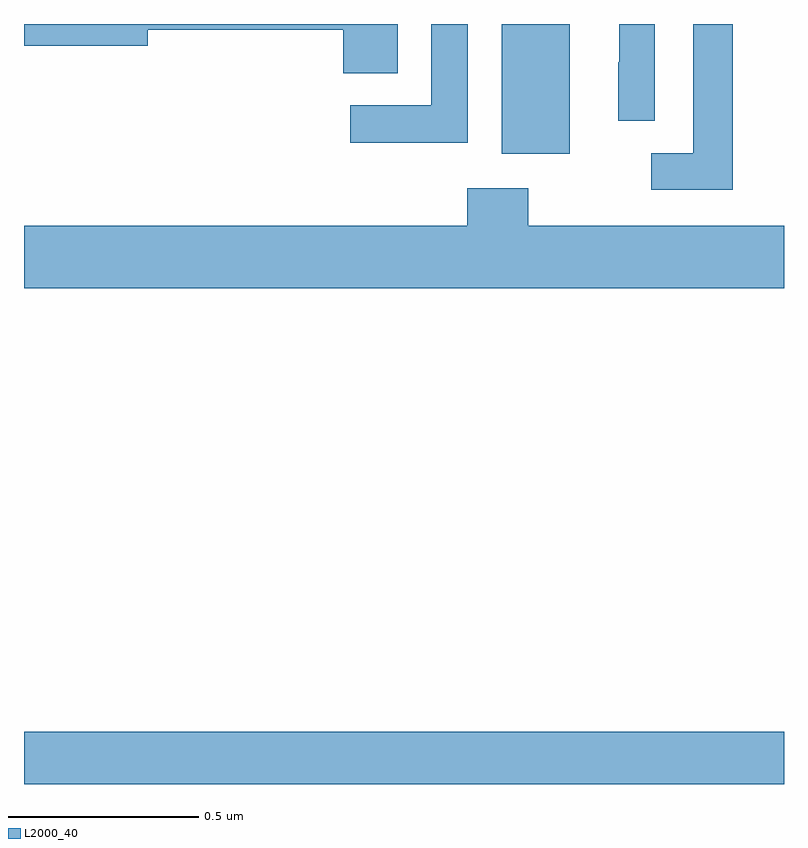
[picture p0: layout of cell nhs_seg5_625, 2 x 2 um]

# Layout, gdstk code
import gdstk
lib = gdstk.Library(unit=1e-6, precision=1e-09)
def R(c, l, rs):  # rectangles x0, y0, x1, y1
    for r in rs: c.add(gdstk.rectangle(r[:2], r[2:], *l))
def P(c, l, *ps):  # polygons
    for p in ps: c.add(gdstk.Polygon(p, *l))
L2000_40 = (2000, 40)

nhs_seg5_625 = lib.new_cell('nhs_seg5_625')
R(nhs_seg5_625, L2000_40, [(119,844.799,121,844.936), (120.257,846.458,120.436,846.799)])
P(nhs_seg5_625, L2000_40, [(120.168,846.799),(120.072,846.799),(120.072,846.585),(119.859,846.585),(119.859,846.487),(120.168,846.487)],
  [(120.66,846.799),(120.566,846.799),(120.566,846.698),(120.564,846.698),(120.564,846.544),(120.66,846.544)],
  [(119.983,846.799),(119,846.799),(119,846.742),(119.326,846.742),(119.326,846.784),(119.84,846.784),(119.84,846.67),(119.983,846.67)],
  [(120.865,846.799),(120.761,846.799),(120.761,846.459),(120.651,846.459),(120.651,846.363),(120.865,846.363)],
  [(121,846.268),(120.327,846.268),(120.327,846.367),(120.167,846.367),(120.167,846.268),(119,846.268),(119,846.104),(121,846.104)])

lib.write_gds('nhs_seg5_625.gds')
